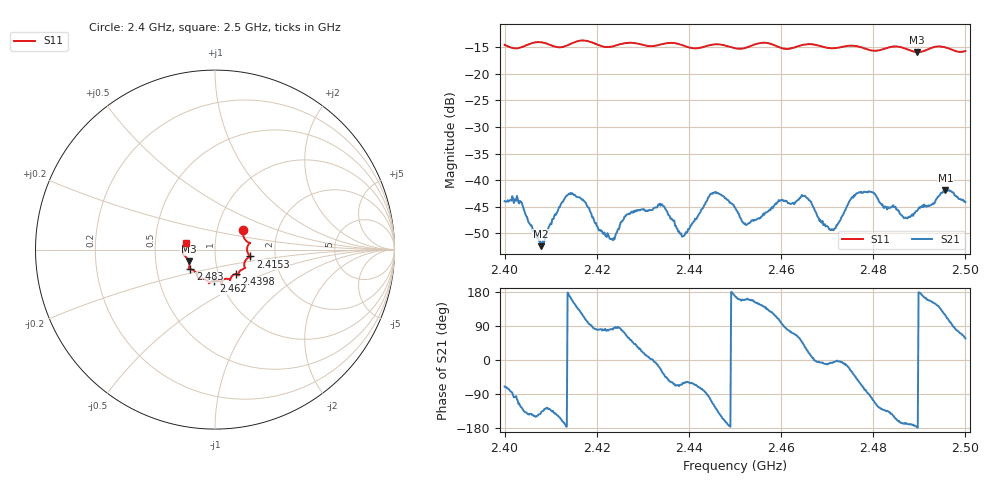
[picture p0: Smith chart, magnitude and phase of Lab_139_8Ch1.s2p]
# Hz S RI R 50
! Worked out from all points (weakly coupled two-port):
!   601 points, 2.4 GHz to 2.5 GHz, reference 50 ohm
!   highest |S21| = -41.88 dB at 2.4957 GHz (marker M1); lowest = -52.5 dB at 2.4078 GHz (marker M2)
!   lowest |S11| = -15.9 dB at 2.4895 GHz (marker M3), VSWR 1.38, Z = 36.9 - j4.99 ohm
!   |S11| at or under -10 dB: start of sweep to end of sweep
!   S12 and S22 are empty: the file has one direction only
!   S11 on the Smith chart (normalised r, x): 2.4 GHz: 1.33, +0.29; 2.4153 GHz: 1.48, -0.12; 2.4398 GHz: 1.21, -0.34; 2.462 GHz: 0.93, -0.33; 2.483 GHz: 0.74, -0.17; 2.5 GHz: 0.72, +0.06
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2.4e9  0.1551 0.1065  0.00215 -0.00595  0 0  0 0
2.403167e9  0.1667 0.057  -0.00248 -0.00549  0 0  0 0
2.407833e9  0.1954 0.0379  -0.00186 -0.00149  0 0  0 0
2.413333e9  0.1828 -0.0193  -0.00702 -0.000604  0 0  0 0
2.415333e9  0.1964 -0.0384  -0.00595 0.00403  0 0  0 0
2.416667e9  0.2023 -0.0425  -0.00362 0.00559  0 0  0 0
2.423333e9  0.1629 -0.0802  0.000411 0.00275  0 0  0 0
2.4265e9  0.1679 -0.1016  0.00213 0.00424  0 0  0 0
2.433333e9  0.1312 -0.1333  0.00566 -0.00158  0 0  0 0
2.439833e9  0.1152 -0.1366  0.0018 -0.00295  0 0  0 0
2.445167e9  0.0847 -0.1693  -0.00317 -0.00673  0 0  0 0
2.45e9  0.0646 -0.1624  -0.00543 0.00105  0 0  0 0
2.4525e9  0.0409 -0.1727  -0.00356 0.00131  0 0  0 0
2.462e9  -0.00522 -0.1733  0.00165 0.00573  0 0  0 0
2.466667e9  -0.0343 -0.1875  0.00589 0.000849  0 0  0 0
2.471e9  -0.0584 -0.1646  0.00335 -0.000401  0 0  0 0
2.476833e9  -0.0955 -0.1539  0.00426 -0.00635  0 0  0 0
2.483e9  -0.1377 -0.1097  -0.00366 -0.00381  0 0  0 0
2.483333e9  -0.1401 -0.1095  -0.00392 -0.00374  0 0  0 0
2.4895e9  -0.1463 -0.0658  -0.00511 -0.00026  0 0  0 0
2.495667e9  -0.1772 -0.0169  -0.00375 0.00712  0 0  0 0
2.5e9  -0.1597 0.0392  0.00341 0.00518  0 0  0 0
